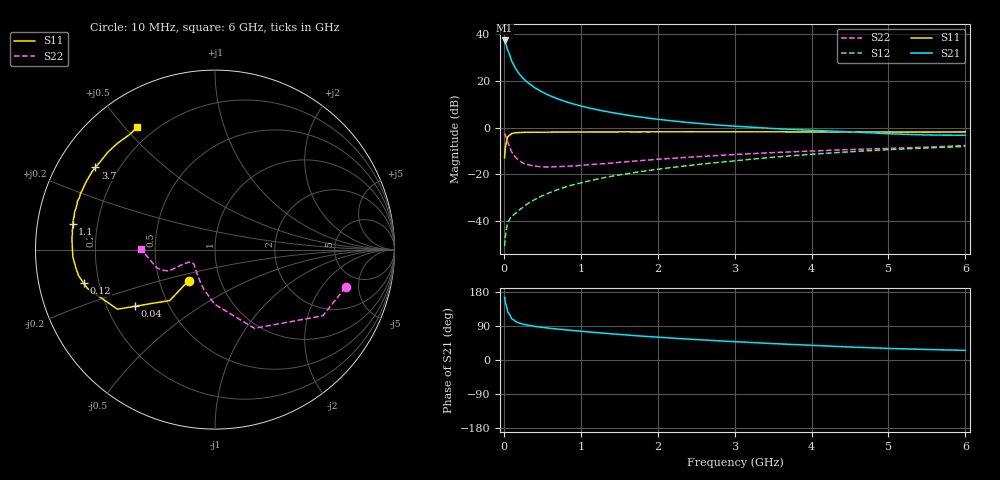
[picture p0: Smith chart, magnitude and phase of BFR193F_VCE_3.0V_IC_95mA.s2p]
! Infineon Technologies  Discrete & RF Semiconductors
! BFR193F
! VCE =  3.0 V,  IC =  95 mA
! Common Emitter S-Parameters:  Jan 2017
# GHz  S  MA  R  50
!  f  S11  S21  S12  S22
! GHz  MAG  ANG  MAG  ANG  MAG  ANG  MAG  ANG
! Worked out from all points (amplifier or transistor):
!   77 points, 10 MHz to 6 GHz, reference 50 ohm
!   highest |S21| = 37.3 dB at 10 MHz (marker M1)
!   |S21| within 3 dB of that: start of sweep to 39.7 MHz
!   unconditionally stable (mu >= 1): 355.7 MHz to 2.923 GHz
!   at 130 MHz: K = 0.73, MSG = 32.0 dB, |S12| = -37.3 dB
!   at 2.2 GHz: K = 1.06, MAG = 8.5 dB, |S12| = -17.0 dB
!   at 6 GHz: K = 0.92, MSG = 2.4 dB, |S12| = -8.1 dB
!   S11 on the Smith chart (normalised r, x): 10 MHz: 0.71, -0.26; 40 MHz: 0.32, -0.29; 120 MHz: 0.14, -0.12; 1.1 GHz: 0.11, +0.09; 3.7 GHz: 0.12, +0.31; 6 GHz: 0.14, +0.54
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0.01  0.2264 -130.4  73 165.7  0.0029 77.7  0.7569 -16.1
0.02  0.3796 -131.6  66.85 152.1  0.0046 67.0  0.705 -31.5
0.04  0.5469 -144.7  51.47 137.4  0.0077 57.5  0.541 -50.1
0.05  0.637 -148.6  45.67 126.7  0.0093 55.1  0.4905 -63.4
0.1  0.7431 -163.1  26.82 109.2  0.0124 51.9  0.3049 -90.2
0.12  0.7544 -165.6  23.46 106.9  0.0132 53.7  0.2733 -95.3
0.15  0.7739 -169.2  18.53 101.9  0.0145 56.1  0.2313 -105.5
0.2  0.7822 -172.7  14.06 97.4  0.0172 59.3  0.1957 -115.1
0.25  0.7881 -175.3  11.31 94.5  0.0197 62.7  0.1733 -123.6
0.3  0.7929 -177.0  9.475 92.3  0.023 65.2  0.1629 -129.2
0.4  0.7939 -179.7  7.119 88.7  0.0287 69.4  0.1494 -137.9
0.5  0.7957 178.4  5.723 86.1  0.0347 71.6  0.144 -143.0
0.7  0.7999 175.0  4.111 81.6  0.0471 74.5  0.1458 -149.1
0.9  0.8021 172.3  3.214 77.8  0.0598 76.3  0.1508 -152.6
1.1  0.8051 169.9  2.644 74.1  0.0718 76.9  0.1603 -153.8
1.5  0.8088 165.7  1.968 67.6  0.0969 76.8  0.1807 -155.3
2.1  0.8106 159.9  1.444 59.0  0.1345 76.1  0.2149 -155.4
3.1  0.8107 151.2  1.047 47.4  0.2013 73.4  0.27 -155.2
3.7  0.8081 145.5  0.921 41.5  0.2463 70.6  0.3006 -157.1
4.1  0.8053 141.5  0.861 37.9  0.2752 68.2  0.3194 -159.5
5.1  0.802 131.1  0.729 30.0  0.3423 61.2  0.363 -170.0
6  0.8091 122.3  0.683 25.5  0.3945 54.9  0.4138 179.7
